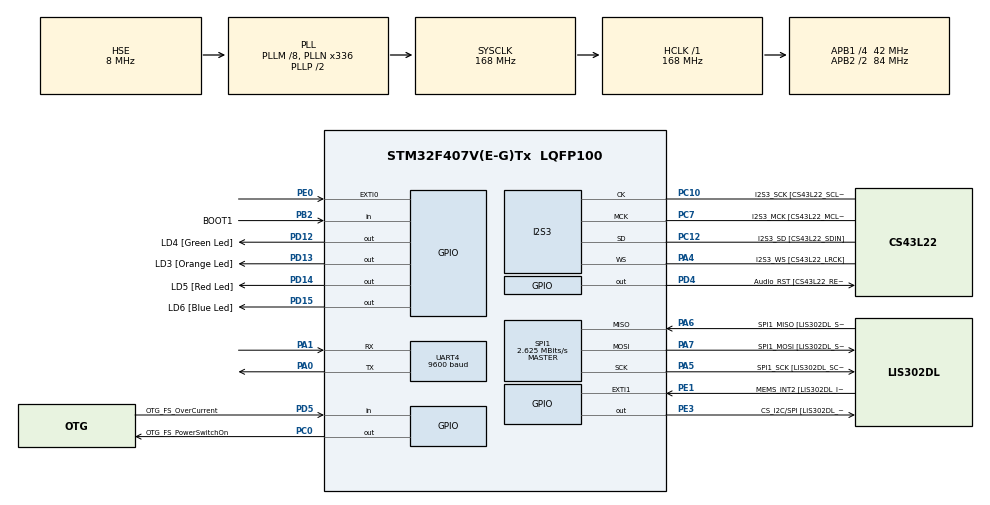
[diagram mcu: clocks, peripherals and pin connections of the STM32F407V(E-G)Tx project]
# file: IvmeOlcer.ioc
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I2S3.AudioFreq-Half_Duplex_Master=I2S_AUDIOFREQ_96K
I2S3.ErrorAudioFreq=-2.34 %
I2S3.ErrorAudioFreq-Half_Duplex_Master=0.8 %
I2S3.FullDuplexMode=I2S_FULLDUPLEXMODE_DISABLE
I2S3.Instance=SPI$Index
I2S3.RealAudioFreq=93.75 KHz
I2S3.RealAudioFreq-Half_Duplex_Master=96.774 KHz
I2S3.VirtualMode=I2S_MODE_MASTER
Mcu.Family=STM32F4
Mcu.Name=STM32F407V(E-G)Tx
Mcu.Package=LQFP100
NVIC.EXTI0_IRQn=true\:0\:0\:false\:false\:true\:true\:true
NVIC.PriorityGroup=NVIC_PRIORITYGROUP_0
NVIC.SPI1_IRQn=true\:0\:0\:false\:false\:true\:true\:true
NVIC.SPI3_IRQn=true\:0\:0\:false\:false\:true\:true\:true
NVIC.UART4_IRQn=true\:0\:0\:false\:false\:true\:true\:true
PA0-WKUP.Mode=Asynchronous
PA0-WKUP.Signal=UART4_TX
PA1.Mode=Asynchronous
PA1.Signal=UART4_RX
PA10.GPIO_Label=OTG_FS_ID
PA10.GPIO_Mode=GPIO_MODE_AF_PP
PA10.GPIO_PuPd=GPIO_NOPULL
PA10.GPIO_Speed=GPIO_SPEED_FREQ_LOW
PA10.Signal=USB_OTG_FS_ID
PA11.GPIO_Label=OTG_FS_DM
PA11.GPIO_Mode=GPIO_MODE_AF_PP
PA11.GPIO_PuPd=GPIO_NOPULL
PA11.GPIO_Speed=GPIO_SPEED_FREQ_LOW
PA11.Signal=USB_OTG_FS_DM
PA12.GPIO_Label=OTG_FS_DP
PA12.GPIO_Mode=GPIO_MODE_AF_PP
PA12.GPIO_PuPd=GPIO_NOPULL
PA12.GPIO_Speed=GPIO_SPEED_FREQ_LOW
PA12.Signal=USB_OTG_FS_DP
PA13.GPIO_Label=SWDIO
PA13.Mode=Serial_Wire
PA13.Signal=SYS_JTMS-SWDIO
PA14.GPIO_Label=SWCLK
PA14.Mode=Serial_Wire
PA14.Signal=SYS_JTCK-SWCLK
PA4.GPIO_Label=I2S3_WS [CS43L22_LRCK]
PA4.GPIO_Mode=GPIO_MODE_AF_PP
PA4.GPIO_PuPd=GPIO_NOPULL
PA4.GPIO_Speed=GPIO_SPEED_FREQ_LOW
PA4.Mode=Half_Duplex_Master
PA4.Signal=I2S3_WS
PA5.GPIO_Label=SPI1_SCK [LIS302DL_SCL/SPC]
PA5.GPIO_Mode=GPIO_MODE_AF_PP
PA5.GPIO_PuPd=GPIO_NOPULL
PA5.GPIO_Speed=GPIO_SPEED_FREQ_LOW
PA5.Mode=Full_Duplex_Master
PA5.Signal=SPI1_SCK
PA6.GPIO_Label=SPI1_MISO [LIS302DL_SDO]
PA6.GPIO_Mode=GPIO_MODE_AF_PP
PA6.GPIO_PuPd=GPIO_NOPULL
PA6.GPIO_Speed=GPIO_SPEED_FREQ_LOW
PA6.Mode=Full_Duplex_Master
PA6.Signal=SPI1_MISO
PA7.GPIO_Label=SPI1_MOSI [LIS302DL_SDA/SDI/SDO]
PA7.GPIO_Mode=GPIO_MODE_AF_PP
PA7.GPIO_PuPd=GPIO_NOPULL
PA7.GPIO_Speed=GPIO_SPEED_FREQ_LOW
PA7.Mode=Full_Duplex_Master
PA7.Signal=SPI1_MOSI
PA9.GPIO_Label=VBUS_FS
PA9.GPIO_Mode=GPIO_MODE_INPUT
PA9.GPIO_PuPd=GPIO_NOPULL
PA9.Signal=USB_OTG_FS_VBUS
PB10.GPIO_Label=CLK_IN [MP45DT02_CLK]
PB10.GPIO_Mode=GPIO_MODE_AF_PP
PB10.GPIO_PuPd=GPIO_NOPULL
PB10.GPIO_Speed=GPIO_SPEED_FREQ_LOW
PB10.Signal=I2S2_CK
PB2.GPIO_Label=BOOT1
PB2.GPIO_Mode=GPIO_MODE_INPUT
PB2.GPIO_PuPd=GPIO_NOPULL
PB2.Signal=GPIO_Input
PB3.GPIO_Label=SWO
PB3.Signal=SYS_JTDO-SWO
PB6.GPIO_Label=Audio_SCL [CS43L22_SCL]
PB6.GPIO_Mode=GPIO_MODE_AF_OD
PB6.GPIO_PuPd=GPIO_NOPULL
PB6.GPIO_Speed=GPIO_SPEED_FREQ_LOW
PB6.Signal=I2C1_SCL
PB9.GPIO_Label=Audio_SDA [CS43L22_SDA]
PB9.GPIO_Mode=GPIO_MODE_AF_OD
PB9.GPIO_PuPd=GPIO_NOPULL
PB9.GPIO_Speed=GPIO_SPEED_FREQ_LOW
PB9.Signal=I2C1_SDA
PC0.GPIO_Label=OTG_FS_PowerSwitchOn
PC0.GPIO_PuPd=GPIO_NOPULL
PC0.GPIO_Speed=GPIO_SPEED_FREQ_LOW
PC0.PinState=GPIO_PIN_SET
PC0.Signal=GPIO_Output
PC10.GPIO_Label=I2S3_SCK [CS43L22_SCLK]
PC10.GPIO_Mode=GPIO_MODE_AF_PP
PC10.GPIO_PuPd=GPIO_NOPULL
PC10.GPIO_Speed=GPIO_SPEED_FREQ_LOW
PC10.Mode=Half_Duplex_Master
PC10.Signal=I2S3_CK
PC12.GPIO_Label=I2S3_SD [CS43L22_SDIN]
PC12.GPIO_Mode=GPIO_MODE_AF_PP
PC12.GPIO_PuPd=GPIO_NOPULL
PC12.GPIO_Speed=GPIO_SPEED_FREQ_LOW
PC12.Mode=Half_Duplex_Master
PC12.Signal=I2S3_SD
PC14-OSC32_IN.GPIO_Label=PC14-OSC32_IN
PC14-OSC32_IN.Mode=LSE-External-Oscillator
PC14-OSC32_IN.Signal=RCC_OSC32_IN
PC15-OSC32_OUT.GPIO_Label=PC15-OSC32_OUT
PC15-OSC32_OUT.Mode=LSE-External-Oscillator
PC15-OSC32_OUT.Signal=RCC_OSC32_OUT
PC3.GPIO_Label=PDM_OUT [MP45DT02_DOUT]
PC3.GPIO_Mode=GPIO_MODE_AF_PP
PC3.GPIO_PuPd=GPIO_NOPULL
PC3.GPIO_Speed=GPIO_SPEED_FREQ_LOW
PC3.Signal=I2S2_SD
PC7.GPIO_Label=I2S3_MCK [CS43L22_MCLK]
PC7.GPIO_Mode=GPIO_MODE_AF_PP
PC7.GPIO_PuPd=GPIO_NOPULL
PC7.GPIO_Speed=GPIO_SPEED_FREQ_LOW
PC7.Mode=Master_Clock_Activated
PC7.Signal=I2S3_MCK
PD12.GPIO_Label=LD4 [Green Led]
PD12.GPIO_PuPd=GPIO_NOPULL
PD12.GPIO_Speed=GPIO_SPEED_FREQ_LOW
PD12.Signal=GPIO_Output
PD13.GPIO_Label=LD3 [Orange Led]
PD13.GPIO_PuPd=GPIO_NOPULL
PD13.GPIO_Speed=GPIO_SPEED_FREQ_LOW
PD13.Signal=GPIO_Output
PD14.GPIO_Label=LD5 [Red Led]
PD14.GPIO_PuPd=GPIO_NOPULL
PD14.GPIO_Speed=GPIO_SPEED_FREQ_LOW
PD14.Signal=GPIO_Output
PD15.GPIO_Label=LD6 [Blue Led]
PD15.GPIO_PuPd=GPIO_NOPULL
PD15.GPIO_Speed=GPIO_SPEED_FREQ_LOW
PD15.Signal=GPIO_Output
PD4.GPIO_Label=Audio_RST [CS43L22_RESET]
PD4.GPIO_PuPd=GPIO_NOPULL
PD4.GPIO_Speed=GPIO_SPEED_FREQ_LOW
PD4.Signal=GPIO_Output
PD5.GPIO_Label=OTG_FS_OverCurrent
PD5.GPIO_Mode=GPIO_MODE_INPUT
PD5.GPIO_PuPd=GPIO_NOPULL
PD5.Signal=GPIO_Input
PE0.Signal=GPXTI0
PE1.GPIO_Label=MEMS_INT2 [LIS302DL_INT2]
PE1.GPIO_ModeDefaultEXTI=GPIO_MODE_EVT_RISING
PE1.GPIO_PuPd=GPIO_NOPULL
PE1.Signal=GPXTI1
PE3.GPIO_Label=CS_I2C/SPI [LIS302DL_CS_I2C/SPI]
PE3.GPIO_PuPd=GPIO_NOPULL
PE3.GPIO_Speed=GPIO_SPEED_FREQ_LOW
PE3.PinState=GPIO_PIN_SET
PE3.Signal=GPIO_Output
PH0-OSC_IN.GPIO_Label=PH0-OSC_IN
PH0-OSC_IN.Mode=HSE-External-Oscillator
PH0-OSC_IN.Signal=RCC_OSC_IN
PH1-OSC_OUT.GPIO_Label=PH1-OSC_OUT
PH1-OSC_OUT.Mode=HSE-External-Oscillator
PH1-OSC_OUT.Signal=RCC_OSC_OUT
ProjectManager.HeapSize=0x2000
ProjectManager.StackSize=0x4000
ProjectManager.TargetToolchain=TrueSTUDIO
RCC.48MHZClocksFreq_Value=48000000
RCC.AHBFreq_Value=168000000
RCC.APB1CLKDivider=RCC_HCLK_DIV4
RCC.APB1Freq_Value=42000000
RCC.APB1TimFreq_Value=84000000
RCC.APB2CLKDivider=RCC_HCLK_DIV2
RCC.APB2Freq_Value=84000000
RCC.APB2TimFreq_Value=168000000
RCC.CortexFreq_Value=168000000
RCC.HCLKFreq_Value=168000000
RCC.HSE_VALUE=8000000
RCC.HSI_VALUE=16000000
RCC.PLLM=8
RCC.PLLN=336
RCC.PLLQ=7
RCC.PLLSourceVirtual=RCC_PLLSOURCE_HSE
RCC.SYSCLKFreq_VALUE=168000000
RCC.SYSCLKSource=RCC_SYSCLKSOURCE_PLLCLK
RCC.VCOOutputFreq_Value=336000000
SPI1.BaudRatePrescaler=SPI_BAUDRATEPRESCALER_32
SPI1.BaudRatePrescaler-Full_Duplex_Master=SPI_BAUDRATEPRESCALER_2
SPI1.CalculateBaudRate=2.625 MBits/s
SPI1.CalculateBaudRate-Full_Duplex_Master=42.0 MBits/s
SPI1.Direction=SPI_DIRECTION_2LINES
SPI1.Mode=SPI_MODE_MASTER
SPI1.Mode-Full_Duplex_Master=SPI_MODE_MASTER
SPI1.VirtualType=VM_MASTER
UART4.BaudRate=9600
UART4.VirtualMode=Asynchronous
board=STM32F407G-DISC1

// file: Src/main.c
/* USER CODE BEGIN Header */
/**
  ******************************************************************************
  * @file           : main.c
  * @brief          : Main program body
  ******************************************************************************
  * @attention
  *
  * <h2><center>&copy; Copyright (c) 2020 STMicroelectronics.
  * All rights reserved.</center></h2>
  *
  * This software component is licensed by ST under BSD 3-Clause license,
  * the "License"; You may not use this file except in compliance with the
  * License. You may obtain a copy of the License at:
  *                        opensource.org/licenses/BSD-3-Clause
  *
  ******************************************************************************
  */
/* USER CODE END Header */

#include "main.h"

/* USER CODE BEGIN Includes */
#include "IvmeOlcereVeriGonder.h"
#include "Paketleme.h"
/* USER CODE END Includes */

/* USER CODE BEGIN PD */
#define LIS3DSH_X_EKSENI_DUSUK				0x28
#define LIS3DSH_X_EKSENI_YUKSEK				0x29
#define LIS3DSH_Y_EKSENI_DUSUK				0x2A
#define LIS3DSH_Y_EKSENI_YUKSEK				0x2B
#define LIS3DSH_Z_EKSENI_DUSUK				0x2C
#define LIS3DSH_Z_EKSENI_YUKSEK				0x2D
#define IVMEOLCERBENKIMIM					0x0F
#define LIS3DSH_KONTROL_REGISTER_4			0x20 //Bu register X,Y,Z eksenlerinden veri alinacagini soylemek icin kullanildi.
#define LIS3DSH_ID							0x3F //LIS3DSH 0xOF adresine gonderilen bayt icin verecegi cevaptir.
/* USER CODE END PD */

I2S_HandleTypeDef hi2s3;

SPI_HandleTypeDef hspi1;

UART_HandleTypeDef huart4;

void SystemClock_Config(void);
static void MX_GPIO_Init(void);
static void MX_I2S3_Init(void);
static void MX_SPI1_Init(void);
static void MX_UART4_Init(void);
/* USER CODE BEGIN PFP */
//void IvmeOlcer_SPI_Okuma(uint8_t* , uint8_t , uint8_t );*/
//IvmeOlcereVeriGonder(uint8_t, uint8_t );
/* USER CODE END PFP */

/* USER CODE BEGIN 0 */
myGlobalStruct_t myGlobalStruct = {0};
uint8_t gonderilecekAdres;
uint8_t gonderilecekVeri = 0xF;
uint8_t SPI_Tx_Buffer[2];
uint16_t veriBoyutu = 1;
uint16_t veriBoyutu2 = 2;
uint8_t id;
uint8_t SPI_Rx_Buffer[2];
uint32_t sureAraligi = 40;

void IvmeOlcer_SPI_Okuma(uint8_t* veri, uint8_t adres, uint8_t sayac){

	  //Pini resetle.
	  HAL_GPIO_WritePin(CS_I2C_SPI_GPIO_Port, CS_I2C_SPI_Pin, GPIO_PIN_RESET);
	  adres |= 0x80; //adres okumak icin en bas (MSB) 1 yapilir.
	  if(sayac > 1){
		  adres |= 0x40; // ikinci bit 1 yapilir.
	  }
	  //Adres verisini gonder.
	  HAL_SPI_Transmit(&hspi1, &gonderilecekVeri, adres, sureAraligi);
	  //Veriyi geri al.

	  HAL_SPI_Receive(&hspi1, veri, veriBoyutu2, sureAraligi);

	  //Pini set et
	  HAL_GPIO_WritePin(CS_I2C_SPI_GPIO_Port, CS_I2C_SPI_Pin, GPIO_PIN_SET);

}
/* USER CODE END 0 */

int main(void)
{
  /* USER CODE BEGIN 1 */
	//HAL_SPI_TransmitReceive(&hspi1,&gonderilecekVeri,&alinacakVeri,veriBoyutu, sureAraligi);

  /* USER CODE END 1 */

  /* MCU Configuration--------------------------------------------------------*/

  /* Reset of all peripherals, Initializes the Flash interface and the Systick. */
  HAL_Init();

  /* Configure the system clock */
  SystemClock_Config();

  /* Initialize all configured peripherals */
  MX_GPIO_Init();
  MX_I2S3_Init();
  MX_SPI1_Init();
  MX_UART4_Init();
  /* USER CODE BEGIN 2 */

  HAL_GPIO_WritePin(CS_I2C_SPI_GPIO_Port,CS_I2C_SPI_Pin,GPIO_PIN_RESET);
  SPI_Tx_Buffer [0] = LIS3DSH_KONTROL_REGISTER_4;
  SPI_Tx_Buffer [1] = 0x17;
  HAL_SPI_Transmit(&hspi1, SPI_Tx_Buffer,2,50);
  HAL_GPIO_WritePin(CS_I2C_SPI_GPIO_Port,CS_I2C_SPI_Pin,GPIO_PIN_SET);
  //////
  HAL_GPIO_WritePin(CS_I2C_SPI_GPIO_Port,CS_I2C_SPI_Pin,GPIO_PIN_RESET);
   SPI_Tx_Buffer[0] = LIS3DSH_KONTROL_REGISTER_4 | 0x80;
   HAL_SPI_Transmit(&hspi1,SPI_Tx_Buffer,1,50);

   HAL_SPI_Receive(&hspi1, SPI_Rx_Buffer,1,50);

   HAL_GPIO_WritePin(CS_I2C_SPI_GPIO_Port,CS_I2C_SPI_Pin,GPIO_PIN_SET);

  /* USER CODE END 2 */

  /* Infinite loop */
  /* USER CODE BEGIN WHILE */
  while (1)
  {

/*

	  HAL_GPIO_WritePin(CS_I2C_SPI_GPIO_Port,CS_I2C_SPI_Pin,GPIO_PIN_RESET);
	   SPI_Tx_Buffer[0] = 0x29 | 0x80;
	   HAL_SPI_Transmit(&hspi1,SPI_Tx_Buffer,1,50);

	   HAL_SPI_Receive(&hspi1, SPI_Rx_Buffer,1,50);

	   if(SPI_Rx_Buffer[0] < 50){

		   HAL_GPIO_WritePin(GPIOD, LD6_Pin, GPIO_PIN_SET );
	   }
	   else {

		   HAL_GPIO_WritePin(GPIOD, LD6_Pin, GPIO_PIN_RESET );

	   }

	   HAL_GPIO_WritePin(CS_I2C_SPI_GPIO_Port,CS_I2C_SPI_Pin,GPIO_PIN_SET);
	  //TM_LIS302DL_LIS3DSH_Detect();

*/
	   /////

	  /*
	   * WHO I AM OKUMA KISMI
	   */

	   HAL_GPIO_WritePin(CS_I2C_SPI_GPIO_Port,CS_I2C_SPI_Pin,GPIO_PIN_RESET);

	   //SPI_Tx_Buffer [0] = 0x0F;
	   SPI_Tx_Buffer [0] = IVMEOLCERBENKIMIM | 0x80;

	   HAL_SPI_Transmit(&hspi1, SPI_Tx_Buffer,1,50);
	   HAL_SPI_Receive(&hspi1, SPI_Rx_Buffer,1,50);
	   if(SPI_Rx_Buffer[0] == 0x3B){
		//   HAL_GPIO_WritePin(GPIOD, LD6_Pin, GPIO_PIN_SET );

	   }
	   else if(SPI_Rx_Buffer[0] == 0x3F) {
		//   HAL_GPIO_WritePin(GPIOD, LD4_Pin, GPIO_PIN_SET );

	   }

	   HAL_GPIO_WritePin(CS_I2C_SPI_GPIO_Port,CS_I2C_SPI_Pin,GPIO_PIN_SET);

	   	   /* WHO I AM OKUMA KISMI
	   	    	* BITIS
	   	    		*/

	   IvmeOlcerVeriOku(&hspi1,&myGlobalStruct.testIvme.testXValue[0],LIS3DSH_X_EKSENI_DUSUK,1);
	   IvmeOlcerVeriOku(&hspi1,&myGlobalStruct.testIvme.testXValue[1],LIS3DSH_X_EKSENI_YUKSEK,1);
	   myGlobalStruct.IvmeOlcerVerileri.myXValue =
			   	   ( (myGlobalStruct.testIvme.testXValue[1] << 8)* 0.06 + myGlobalStruct.testIvme.testXValue[0]* 0.06) ;

	   IvmeOlcerVeriOku(&hspi1,&myGlobalStruct.testIvme.testYValue[0],LIS3DSH_Y_EKSENI_DUSUK,1);
	   IvmeOlcerVeriOku(&hspi1,&myGlobalStruct.testIvme.testYValue[1],LIS3DSH_Y_EKSENI_YUKSEK,1);
	   myGlobalStruct.IvmeOlcerVerileri.myYValue =
			   	   ( (myGlobalStruct.testIvme.testYValue[1] << 8)* 0.06 + myGlobalStruct.testIvme.testYValue[0]* 0.06) ;

	   IvmeOlcerVeriOku(&hspi1,&myGlobalStruct.testIvme.testZValue[0],LIS3DSH_Z_EKSENI_DUSUK,1);
	   IvmeOlcerVeriOku(&hspi1,&myGlobalStruct.testIvme.testZValue[1],LIS3DSH_Z_EKSENI_YUKSEK,1);
	   myGlobalStruct.IvmeOlcerVerileri.myZValue =
			   	   ( (myGlobalStruct.testIvme.testZValue[1] << 8)* 0.06 + myGlobalStruct.testIvme.testZValue[0]* 0.06) ;

	   	   if(myGlobalStruct.IvmeOlcerVerileri.myXValue > 1916){
		   HAL_GPIO_WritePin(GPIOD,LD5_Pin, GPIO_PIN_SET);

	   }

	  // SERI ILETISIM PAKETI OLUSTURMA DOGRULAMA BYTE 0x03 olarak sectim.
	  // SERI ILETISIM PAKETI IKINCI DOGRULAMA BYTE 0x01 olarak sectim.

	   	uint8_t ilkDogrulama = 0x03;
	   	uint8_t bitisPaket = 0x0A;
	   	uint8_t ikinciDogrulama = 0x01;
	   	uint16_t paket = (ilkDogrulama << 8) ;
	   	paket |= ikinciDogrulama;
	  	HAL_UART_Transmit(&huart4,&ilkDogrulama, 1,50);
	   	HAL_UART_Transmit(&huart4,&ikinciDogrulama, 1,50);
	   	HAL_UART_Transmit(&huart4,&myGlobalStruct.testIvme.testXValue[0], 1,50);
	   	HAL_UART_Transmit(&huart4,&myGlobalStruct.testIvme.testXValue[1], 1,50);
	   	HAL_UART_Transmit(&huart4,&myGlobalStruct.testIvme.testYValue[0], 1,50);
	   	HAL_UART_Transmit(&huart4,&myGlobalStruct.testIvme.testYValue[1], 1,50);
	   	HAL_UART_Transmit(&huart4,&myGlobalStruct.testIvme.testZValue[0], 1,50);
	   	HAL_UART_Transmit(&huart4,&myGlobalStruct.testIvme.testZValue[1], 1,50);
	  //HAL_UART_Transmit(&huart4,&bitisPaket, 1,50);
	  //HAL_UART_Transmit(&huart4, myGlobalStruct.IvmeOlcerVerileri.myXValue[1], 1,50);

	  HAL_Delay(50);

    /* USER CODE END WHILE */

  }
}

void SystemClock_Config(void)
{
  RCC_OscInitTypeDef RCC_OscInitStruct = {0};
  RCC_ClkInitTypeDef RCC_ClkInitStruct = {0};
  RCC_PeriphCLKInitTypeDef PeriphClkInitStruct = {0};

  /** Configure the main internal regulator output voltage
  */
  __HAL_RCC_PWR_CLK_ENABLE();
  __HAL_PWR_VOLTAGESCALING_CONFIG(PWR_REGULATOR_VOLTAGE_SCALE1);
  /** Initializes the CPU, AHB and APB busses clocks
  */
  RCC_OscInitStruct.OscillatorType = RCC_OSCILLATORTYPE_HSE;
  RCC_OscInitStruct.HSEState = RCC_HSE_ON;
  RCC_OscInitStruct.PLL.PLLState = RCC_PLL_ON;
  RCC_OscInitStruct.PLL.PLLSource = RCC_PLLSOURCE_HSE;
  RCC_OscInitStruct.PLL.PLLM = 8;
  RCC_OscInitStruct.PLL.PLLN = 336;
  RCC_OscInitStruct.PLL.PLLP = RCC_PLLP_DIV2;
  RCC_OscInitStruct.PLL.PLLQ = 7;
  if (HAL_RCC_OscConfig(&RCC_OscInitStruct) != HAL_OK)
  {
    Error_Handler();
  }
  /** Initializes the CPU, AHB and APB busses clocks
  */
  RCC_ClkInitStruct.ClockType = RCC_CLOCKTYPE_HCLK|RCC_CLOCKTYPE_SYSCLK
                              |RCC_CLOCKTYPE_PCLK1|RCC_CLOCKTYPE_PCLK2;
  RCC_ClkInitStruct.SYSCLKSource = RCC_SYSCLKSOURCE_PLLCLK;
  RCC_ClkInitStruct.AHBCLKDivider = RCC_SYSCLK_DIV1;
  RCC_ClkInitStruct.APB1CLKDivider = RCC_HCLK_DIV4;
  RCC_ClkInitStruct.APB2CLKDivider = RCC_HCLK_DIV2;

  if (HAL_RCC_ClockConfig(&RCC_ClkInitStruct, FLASH_LATENCY_5) != HAL_OK)
  {
    Error_Handler();
  }
  PeriphClkInitStruct.PeriphClockSelection = RCC_PERIPHCLK_I2S;
  PeriphClkInitStruct.PLLI2S.PLLI2SN = 192;
  PeriphClkInitStruct.PLLI2S.PLLI2SR = 2;
  if (HAL_RCCEx_PeriphCLKConfig(&PeriphClkInitStruct) != HAL_OK)
  {
    Error_Handler();
  }
}

static void MX_I2S3_Init(void)
{

  hi2s3.Instance = SPI3;
  hi2s3.Init.Mode = I2S_MODE_MASTER_TX;
  hi2s3.Init.Standard = I2S_STANDARD_PHILIPS;
  hi2s3.Init.DataFormat = I2S_DATAFORMAT_16B;
  hi2s3.Init.MCLKOutput = I2S_MCLKOUTPUT_ENABLE;
  hi2s3.Init.AudioFreq = I2S_AUDIOFREQ_96K;
  hi2s3.Init.CPOL = I2S_CPOL_LOW;
  hi2s3.Init.ClockSource = I2S_CLOCK_PLL;
  hi2s3.Init.FullDuplexMode = I2S_FULLDUPLEXMODE_DISABLE;
  if (HAL_I2S_Init(&hi2s3) != HAL_OK)
  {
    Error_Handler();
  }

}

static void MX_SPI1_Init(void)
{

  /* SPI1 parameter configuration*/
  hspi1.Instance = SPI1;
  hspi1.Init.Mode = SPI_MODE_MASTER;
  hspi1.Init.Direction = SPI_DIRECTION_2LINES;
  hspi1.Init.DataSize = SPI_DATASIZE_8BIT;
  hspi1.Init.CLKPolarity = SPI_POLARITY_LOW;
  hspi1.Init.CLKPhase = SPI_PHASE_1EDGE;
  hspi1.Init.NSS = SPI_NSS_SOFT;
  hspi1.Init.BaudRatePrescaler = SPI_BAUDRATEPRESCALER_32;
  hspi1.Init.FirstBit = SPI_FIRSTBIT_MSB;
  hspi1.Init.TIMode = SPI_TIMODE_DISABLE;
  hspi1.Init.CRCCalculation = SPI_CRCCALCULATION_DISABLE;
  hspi1.Init.CRCPolynomial = 10;
  if (HAL_SPI_Init(&hspi1) != HAL_OK)
  {
    Error_Handler();
  }
  /* USER CODE BEGIN SPI1_Init 2 */
 // uint8_t myData
//  HAL_SPI_Transmit(&hspi1, 0x20C7, 16, 0);
  /* USER CODE END SPI1_Init 2 */

}

static void MX_UART4_Init(void)
{

  huart4.Instance = UART4;
  huart4.Init.BaudRate = 9600;
  huart4.Init.WordLength = UART_WORDLENGTH_8B;
  huart4.Init.StopBits = UART_STOPBITS_1;
  huart4.Init.Parity = UART_PARITY_NONE;
  huart4.Init.Mode = UART_MODE_TX_RX;
  huart4.Init.HwFlowCtl = UART_HWCONTROL_NONE;
  huart4.Init.OverSampling = UART_OVERSAMPLING_16;
  if (HAL_UART_Init(&huart4) != HAL_OK)
  {
    Error_Handler();
  }

}

static void MX_GPIO_Init(void)
{
  GPIO_InitTypeDef GPIO_InitStruct = {0};

  /* GPIO Ports Clock Enable */
  __HAL_RCC_GPIOE_CLK_ENABLE();
  __HAL_RCC_GPIOC_CLK_ENABLE();
  __HAL_RCC_GPIOH_CLK_ENABLE();
  __HAL_RCC_GPIOA_CLK_ENABLE();
  __HAL_RCC_GPIOB_CLK_ENABLE();
  __HAL_RCC_GPIOD_CLK_ENABLE();

  /*Configure GPIO pin Output Level */
  HAL_GPIO_WritePin(CS_I2C_SPI_GPIO_Port, CS_I2C_SPI_Pin, GPIO_PIN_SET);

  /*Configure GPIO pin Output Level */
  HAL_GPIO_WritePin(OTG_FS_PowerSwitchOn_GPIO_Port, OTG_FS_PowerSwitchOn_Pin, GPIO_PIN_SET);

  /*Configure GPIO pin Output Level */
  HAL_GPIO_WritePin(GPIOD, LD4_Pin|LD3_Pin|LD5_Pin|LD6_Pin
                          |Audio_RST_Pin, GPIO_PIN_RESET);

  /*Configure GPIO pin : CS_I2C_SPI_Pin */
  GPIO_InitStruct.Pin = CS_I2C_SPI_Pin;
  GPIO_InitStruct.Mode = GPIO_MODE_OUTPUT_PP;
  GPIO_InitStruct.Pull = GPIO_NOPULL;
  GPIO_InitStruct.Speed = GPIO_SPEED_FREQ_LOW;
  HAL_GPIO_Init(CS_I2C_SPI_GPIO_Port, &GPIO_InitStruct);

  /*Configure GPIO pin : OTG_FS_PowerSwitchOn_Pin */
  GPIO_InitStruct.Pin = OTG_FS_PowerSwitchOn_Pin;
  GPIO_InitStruct.Mode = GPIO_MODE_OUTPUT_PP;
  GPIO_InitStruct.Pull = GPIO_NOPULL;
  GPIO_InitStruct.Speed = GPIO_SPEED_FREQ_LOW;
  HAL_GPIO_Init(OTG_FS_PowerSwitchOn_GPIO_Port, &GPIO_InitStruct);

  /*Configure GPIO pin : PDM_OUT_Pin */
  GPIO_InitStruct.Pin = PDM_OUT_Pin;
  GPIO_InitStruct.Mode = GPIO_MODE_AF_PP;
  GPIO_InitStruct.Pull = GPIO_NOPULL;
  GPIO_InitStruct.Speed = GPIO_SPEED_FREQ_LOW;
  GPIO_InitStruct.Alternate = GPIO_AF5_SPI2;
  HAL_GPIO_Init(PDM_OUT_GPIO_Port, &GPIO_InitStruct);

  /*Configure GPIO pin : BOOT1_Pin */
  GPIO_InitStruct.Pin = BOOT1_Pin;
  GPIO_InitStruct.Mode = GPIO_MODE_INPUT;
  GPIO_InitStruct.Pull = GPIO_NOPULL;
  HAL_GPIO_Init(BOOT1_GPIO_Port, &GPIO_InitStruct);

  /*Configure GPIO pin : CLK_IN_Pin */
  GPIO_InitStruct.Pin = CLK_IN_Pin;
  GPIO_InitStruct.Mode = GPIO_MODE_AF_PP;
  GPIO_InitStruct.Pull = GPIO_NOPULL;
  GPIO_InitStruct.Speed = GPIO_SPEED_FREQ_LOW;
  GPIO_InitStruct.Alternate = GPIO_AF5_SPI2;
  HAL_GPIO_Init(CLK_IN_GPIO_Port, &GPIO_InitStruct);

  /*Configure GPIO pins : LD4_Pin LD3_Pin LD5_Pin LD6_Pin
                           Audio_RST_Pin */
  GPIO_InitStruct.Pin = LD4_Pin|LD3_Pin|LD5_Pin|LD6_Pin
                          |Audio_RST_Pin;
  GPIO_InitStruct.Mode = GPIO_MODE_OUTPUT_PP;
  GPIO_InitStruct.Pull = GPIO_NOPULL;
  GPIO_InitStruct.Speed = GPIO_SPEED_FREQ_LOW;
  HAL_GPIO_Init(GPIOD, &GPIO_InitStruct);

  /*Configure GPIO pin : VBUS_FS_Pin */
  GPIO_InitStruct.Pin = VBUS_FS_Pin;
  GPIO_InitStruct.Mode = GPIO_MODE_INPUT;
  GPIO_InitStruct.Pull = GPIO_NOPULL;
  HAL_GPIO_Init(VBUS_FS_GPIO_Port, &GPIO_InitStruct);

  /*Configure GPIO pins : OTG_FS_ID_Pin OTG_FS_DM_Pin OTG_FS_DP_Pin */
  GPIO_InitStruct.Pin = OTG_FS_ID_Pin|OTG_FS_DM_Pin|OTG_FS_DP_Pin;
  GPIO_InitStruct.Mode = GPIO_MODE_AF_PP;
  GPIO_InitStruct.Pull = GPIO_NOPULL;
  GPIO_InitStruct.Speed = GPIO_SPEED_FREQ_LOW;
  GPIO_InitStruct.Alternate = GPIO_AF10_OTG_FS;
  HAL_GPIO_Init(GPIOA, &GPIO_InitStruct);

  /*Configure GPIO pin : OTG_FS_OverCurrent_Pin */
  GPIO_InitStruct.Pin = OTG_FS_OverCurrent_Pin;
  GPIO_InitStruct.Mode = GPIO_MODE_INPUT;
  GPIO_InitStruct.Pull = GPIO_NOPULL;
  HAL_GPIO_Init(OTG_FS_OverCurrent_GPIO_Port, &GPIO_InitStruct);

  /*Configure GPIO pins : Audio_SCL_Pin Audio_SDA_Pin */
  GPIO_InitStruct.Pin = Audio_SCL_Pin|Audio_SDA_Pin;
  GPIO_InitStruct.Mode = GPIO_MODE_AF_OD;
  GPIO_InitStruct.Pull = GPIO_PULLUP;
  GPIO_InitStruct.Speed = GPIO_SPEED_FREQ_LOW;
  GPIO_InitStruct.Alternate = GPIO_AF4_I2C1;
  HAL_GPIO_Init(GPIOB, &GPIO_InitStruct);

  /*Configure GPIO pin : PE0 */
  GPIO_InitStruct.Pin = GPIO_PIN_0;
  GPIO_InitStruct.Mode = GPIO_MODE_IT_RISING;
  GPIO_InitStruct.Pull = GPIO_NOPULL;
  HAL_GPIO_Init(GPIOE, &GPIO_InitStruct);

  /*Configure GPIO pin : MEMS_INT2_Pin */
  GPIO_InitStruct.Pin = MEMS_INT2_Pin;
  GPIO_InitStruct.Mode = GPIO_MODE_EVT_RISING;
  GPIO_InitStruct.Pull = GPIO_NOPULL;
  HAL_GPIO_Init(MEMS_INT2_GPIO_Port, &GPIO_InitStruct);

  /* EXTI interrupt init*/
  HAL_NVIC_SetPriority(EXTI0_IRQn, 0, 0);
  HAL_NVIC_EnableIRQ(EXTI0_IRQn);

}

void Error_Handler(void)
{
}

/************************ (C) COPYRIGHT STMicroelectronics *****END OF FILE****/
